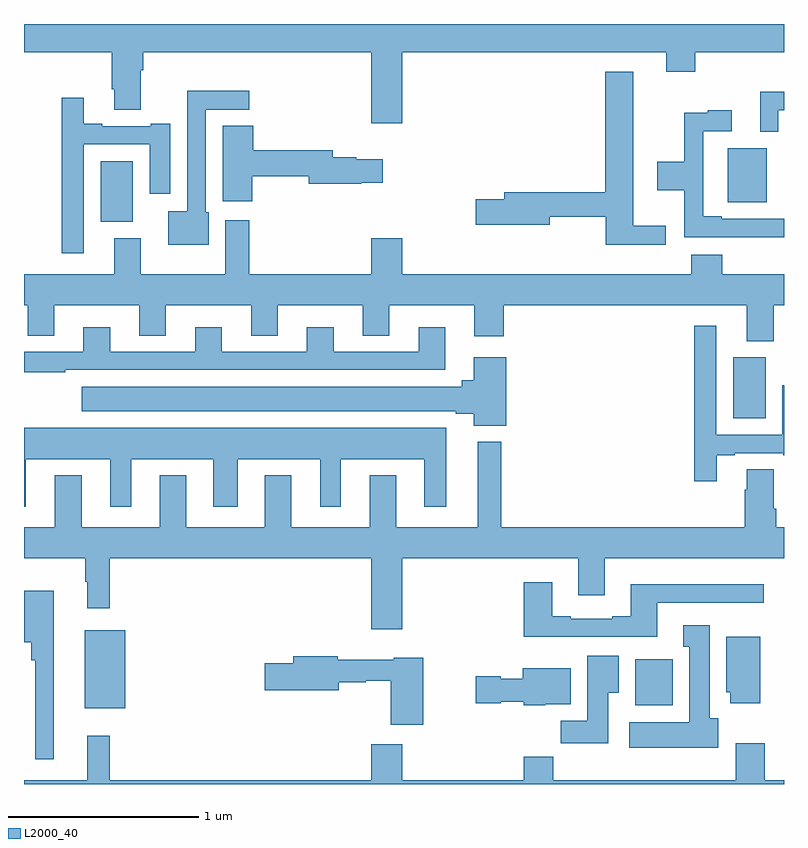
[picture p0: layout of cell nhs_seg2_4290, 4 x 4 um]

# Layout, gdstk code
import gdstk
lib = gdstk.Library(unit=1e-6, precision=1e-09)
def R(c, l, rs):  # rectangles x0, y0, x1, y1
    for r in rs: c.add(gdstk.rectangle(r[:2], r[2:], *l))
def P(c, l, *ps):  # polygons
    for p in ps: c.add(gdstk.Polygon(p, *l))
L2000_40 = (2000, 40)

nhs_seg2_4290 = lib.new_cell('nhs_seg2_4290')
R(nhs_seg2_4290, L2000_40, [(343.319,628.199,343.534,628.609), (346.217,628.214,346.414,628.456), (346.733,629.726,346.903,630.046), (343.403,630.758,343.573,631.078), (346.703,630.863,346.909,631.147)])
P(nhs_seg2_4290, L2000_40, [(344.992,631.652),(346.379,631.652),(346.379,631.55),(346.532,631.55),(346.532,631.652),(347,631.652),(347,631.8),(343,631.8),(343,631.652),(343.463,631.652),(343.463,631.456),(343.475,631.456),(343.475,631.348),(343.615,631.348),(343.615,631.556),(343.628,631.556),(343.628,631.652),(344.828,631.652),(344.828,631.278),(344.992,631.278)],
  [(346.378,630.737),(346.207,630.737),(346.207,631.549),(346.058,631.549),(346.058,630.914),(345.527,630.914),(345.527,630.878),(345.378,630.878),(345.378,630.743),(345.766,630.743),(345.766,630.786),(346.063,630.786),(346.063,630.638),(346.378,630.638)],
  [(343.972,630.81),(343.956,630.81),(343.956,631.35),(344.185,631.35),(344.185,631.448),(343.86,631.448),(343.86,630.814),(343.76,630.814),(343.76,630.638),(343.972,630.638)],
  [(346.971,631.347),(347,631.347),(347,631.443),(346.874,631.443),(346.874,631.232),(346.971,631.232)],
  [(343.314,631.167),(343.661,631.167),(343.661,630.906),(343.771,630.906),(343.771,631.276),(343.667,631.276),(343.667,631.263),(343.411,631.263),(343.411,631.276),(343.315,631.276),(343.315,631.411),(343.198,631.411),(343.198,630.594),(343.314,630.594)],
  [(347,630.774),(346.672,630.774),(346.672,630.787),(346.575,630.787),(346.575,631.236),(346.726,631.236),(346.726,631.345),(346.598,631.345),(346.598,631.334),(346.474,631.334),(346.474,631.074),(346.332,631.074),(346.332,630.926),(346.474,630.926),(346.474,630.678),(346.759,630.678),(346.759,630.677),(347,630.677)],
  [(344.202,631),(344.498,631),(344.498,630.958),(344.774,630.958),(344.774,630.965),(344.887,630.965),(344.887,631.087),(344.748,631.087),(344.748,631.1),(344.626,631.1),(344.626,631.136),(344.207,631.136),(344.207,631.265),(344.045,631.265),(344.045,630.867),(344.202,630.867)],
  [(346.945,630.32),(347,630.32),(347,630.484),(346.676,630.484),(346.676,630.586),(346.511,630.586),(346.511,630.484),(344.992,630.484),(344.992,630.673),(344.828,630.673),(344.828,630.484),(344.186,630.484),(344.186,630.766),(344.06,630.766),(344.06,630.484),(343.615,630.484),(343.615,630.673),(343.475,630.673),(343.475,630.484),(343,630.484),(343,630.32),(343.019,630.32),(343.019,630.16),(343.159,630.16),(343.159,630.32),(343.607,630.32),(343.607,630.16),(343.747,630.16),(343.747,630.32),(344.195,630.32),(344.195,630.16),(344.335,630.16),(344.335,630.32),(344.783,630.32),(344.783,630.16),(344.923,630.16),(344.923,630.32),(345.371,630.32),(345.371,630.156),(345.524,630.156),(345.524,630.32),(346.805,630.32),(346.805,630.131),(346.945,630.131)],
  [(346.645,629.529),(346.741,629.529),(346.741,629.541),(346.997,629.541),(346.997,629.529),(347,629.529),(347,629.899),(346.991,629.899),(346.991,629.637),(346.644,629.637),(346.644,630.211),(346.528,630.211),(346.528,629.394),(346.645,629.394)],
  [(343.217,629.979),(345.217,629.979),(345.217,630.205),(345.077,630.205),(345.077,630.075),(344.629,630.075),(344.629,630.205),(344.489,630.205),(344.489,630.075),(344.041,630.075),(344.041,630.205),(343.901,630.205),(343.901,630.075),(343.453,630.075),(343.453,630.205),(343.313,630.205),(343.313,630.075),(343,630.075),(343,629.967),(343.217,629.967)],
  [(345.539,630.046),(345.368,630.046),(345.368,629.926),(345.305,629.926),(345.305,629.89),(343.305,629.89),(343.305,629.762),(345.272,629.762),(345.272,629.75),(345.368,629.75),(345.368,629.686),(345.539,629.686)],
  [(343.009,629.51),(343.454,629.51),(343.454,629.259),(343.564,629.259),(343.564,629.51),(343.997,629.51),(343.997,629.259),(344.125,629.259),(344.125,629.51),(344.558,629.51),(344.558,629.259),(344.668,629.259),(344.668,629.51),(345.107,629.51),(345.107,629.259),(345.223,629.259),(345.223,629.674),(343,629.674),(343,629.259),(343.009,629.259)],
  [(344.992,628.988),(345.917,628.988),(345.917,628.794),(346.057,628.794),(346.057,628.988),(347,628.988),(347,629.152),(346.958,629.152),(346.958,629.248),(346.945,629.248),(346.945,629.456),(346.805,629.456),(346.805,629.348),(346.793,629.348),(346.793,629.152),(345.511,629.152),(345.511,629.601),(345.389,629.601),(345.389,629.152),(344.959,629.152),(344.959,629.425),(344.819,629.425),(344.819,629.152),(344.407,629.152),(344.407,629.425),(344.267,629.425),(344.267,629.152),(343.855,629.152),(343.855,629.425),(343.715,629.425),(343.715,629.152),(343.303,629.152),(343.303,629.425),(343.163,629.425),(343.163,629.152),(343,629.152),(343,628.988),(343.323,628.988),(343.323,628.865),(343.334,628.865),(343.334,628.725),(343.451,628.725),(343.451,628.988),(344.828,628.988),(344.828,628.614),(344.992,628.614)],
  [(345.869,628.575),(346.333,628.575),(346.333,628.755),(346.894,628.755),(346.894,628.852),(346.193,628.852),(346.193,628.684),(346.097,628.684),(346.097,628.671),(345.877,628.671),(345.877,628.684),(345.781,628.684),(345.781,628.861),(345.629,628.861),(345.629,628.574),(345.869,628.574)],
  [(343.156,628.816),(343,628.816),(343,628.547),(343.039,628.547),(343.039,628.451),(343.059,628.451),(343.059,627.93),(343.156,627.93)],
  [(346.654,628.146),(346.609,628.146),(346.609,628.636),(346.469,628.636),(346.469,628.523),(346.502,628.523),(346.502,628.126),(346.185,628.126),(346.185,627.992),(346.654,627.992)],
  [(346.876,628.576),(346.697,628.576),(346.697,628.284),(346.718,628.284),(346.718,628.224),(346.876,628.224)],
  [(346.075,628.28),(346.129,628.28),(346.129,628.474),(345.965,628.474),(345.965,628.132),(345.826,628.132),(345.826,628.014),(346.075,628.014)],
  [(345.1,628.465),(344.946,628.465),(344.946,628.453),(344.652,628.453),(344.652,628.472),(344.417,628.472),(344.417,628.436),(344.268,628.436),(344.268,628.294),(344.656,628.294),(344.656,628.336),(344.799,628.336),(344.799,628.344),(344.93,628.344),(344.93,628.113),(345.1,628.113)],
  [(345.744,628.22),(345.877,628.22),(345.877,628.408),(345.626,628.408),(345.626,628.354),(345.51,628.354),(345.51,628.367),(345.378,628.367),(345.378,628.225),(345.51,628.225),(345.51,628.232),(345.63,628.232),(345.63,628.214),(345.744,628.214)],
  [(344.828,628.009),(344.828,627.82),(343.451,627.82),(343.451,628.054),(343.334,628.054),(343.334,627.82),(343,627.82),(343,627.8),(347,627.8),(347,627.82),(346.898,627.82),(346.898,628.015),(346.745,628.015),(346.745,627.82),(345.785,627.82),(345.785,627.944),(345.629,627.944),(345.629,627.82),(344.992,627.82),(344.992,628.009)])

lib.write_gds('nhs_seg2_4290.gds')
